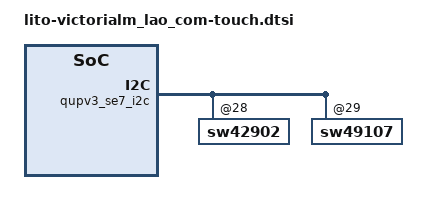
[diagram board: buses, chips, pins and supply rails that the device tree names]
// SPDX-License-Identifier: GPL-2.0-only
/*
 * Copyright (c) 2018-2019, The Linux Foundation. All rights reserved.
 */

#include "../lito-victorialm_common/lito-victorialm_common-touch.dtsi"

&qupv3_se7_i2c {
	#address-cells = <1>;
	#size-cells = <0>;

	status = "ok";

	sw42902@28 {
		status = "ok";

		fw_image = "touch/caymanlm/B3W68CAYMAN_3_18.img",
			"touch/caymanlm/B3W68DS3_0_24.img";
	};

	sw42000@28 {
		status = "disabled";
		pinctrl-names = "touch_pin_active", "touch_pin_sleep", "touch_pm8150l_gpio_default";
		pinctrl-0 = <&ts_reset_active &ts_int_active>;
		pinctrl-1 = <&ts_reset_suspend &ts_int_suspend>;
		pinctrl-2 = <&touch_pm8150l_gpio_default>;
	};

	sw49107@29 {
		status = "ok";
	};
};

